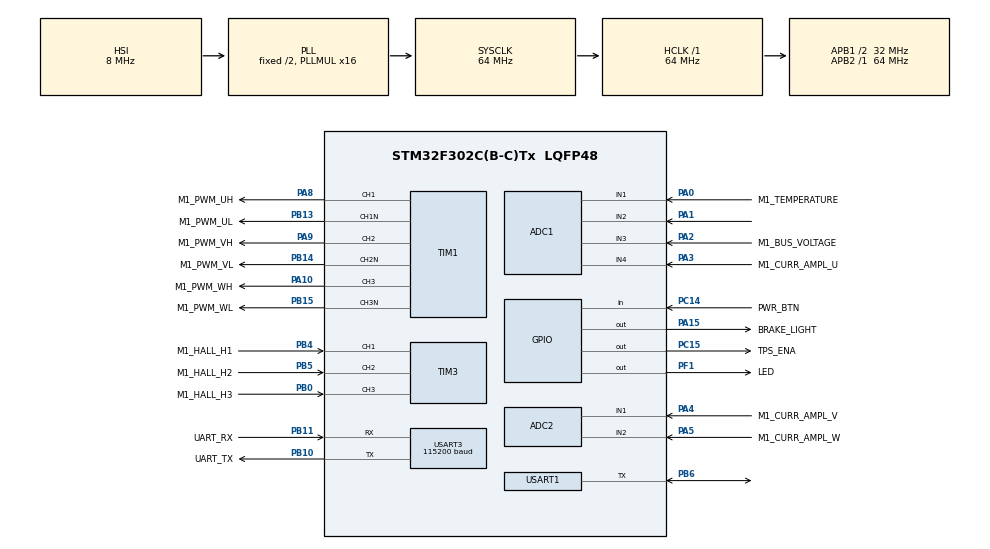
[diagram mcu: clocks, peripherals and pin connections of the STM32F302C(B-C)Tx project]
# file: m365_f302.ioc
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ADC1.Channel-4\#ChannelRegularConversion=ADC_CHANNEL_3
ADC1.Channel-5\#ChannelRegularConversion=ADC_CHANNEL_1
ADC1.ClockPrescaler=ADC_CLOCK_SYNC_PCLK_DIV1
ADC1.DataAlign=ADC_DATAALIGN_LEFT
ADC1.EnableRegularConversion=ENABLE
ADC1.ExternalTrigInjecConv=ADC_EXTERNALTRIGINJECCONV_T1_TRGO
ADC1.InjNumberOfConversion=2
ADC1.InjectedChannel-1\#ChannelInjectedConversion=ADC_CHANNEL_4
ADC1.InjectedChannel-2\#ChannelInjectedConversion=ADC_CHANNEL_2
ADC1.InjectedConvMode=None
ADC1.InjectedOffset-1\#ChannelInjectedConversion=0
ADC1.InjectedOffset-2\#ChannelInjectedConversion=0
ADC1.InjectedOffsetNumber-1\#ChannelInjectedConversion=ADC_OFFSET_NONE
ADC1.InjectedOffsetNumber-2\#ChannelInjectedConversion=ADC_OFFSET_NONE
ADC1.InjectedRank-1\#ChannelInjectedConversion=1
ADC1.InjectedRank-2\#ChannelInjectedConversion=2
ADC1.InjectedSamplingTime-1\#ChannelInjectedConversion=ADC_SAMPLETIME_1CYCLE_5
ADC1.InjectedSamplingTime-2\#ChannelInjectedConversion=ADC_SAMPLETIME_1CYCLE_5
ADC1.InjectedSamplingTimeOPAMP-1\#ChannelInjectedConversion=ADC_SAMPLETIME_61CYCLES_5
ADC1.InjectedSamplingTimeOPAMP-2\#ChannelInjectedConversion=ADC_SAMPLETIME_61CYCLES_5
ADC1.NbrOfConversion=2
ADC1.NbrOfConversionFlag=1
ADC1.Offset-4\#ChannelRegularConversion=0
ADC1.Offset-5\#ChannelRegularConversion=0
ADC1.OffsetNumber-4\#ChannelRegularConversion=ADC_OFFSET_NONE
ADC1.OffsetNumber-5\#ChannelRegularConversion=ADC_OFFSET_NONE
ADC1.QueueInjectedContext=ENABLE
ADC1.Rank-4\#ChannelRegularConversion=1
ADC1.Rank-5\#ChannelRegularConversion=3
ADC1.Rank2_Channel=ADC_CHANNEL_2
ADC1.SamplingTime-4\#ChannelRegularConversion=ADC_SAMPLETIME_1CYCLE_5
ADC1.SamplingTime-5\#ChannelRegularConversion=ADC_SAMPLETIME_1CYCLE_5
ADC1.SamplingTimeOPAMP-4\#ChannelRegularConversion=ADC_SAMPLETIME_61CYCLES_5
ADC1.SamplingTimeOPAMP-5\#ChannelRegularConversion=ADC_SAMPLETIME_61CYCLES_5
ADC1.SequencerNbRanks=1
ADC1.master=1
ADC2.Channel-0\#ChannelRegularConversion=ADC_CHANNEL_1
ADC2.ClockPrescaler=ADC_CLOCK_SYNC_PCLK_DIV1
ADC2.DataAlign=ADC_DATAALIGN_LEFT
ADC2.ExternalTrigInjecConv=ADC_EXTERNALTRIGINJECCONV_T1_TRGO
ADC2.InjNumberOfConversion=2
ADC2.InjectedChannel-1\#ChannelInjectedConversion=ADC_CHANNEL_1
ADC2.InjectedChannel-2\#ChannelInjectedConversion=ADC_CHANNEL_2
ADC2.InjectedConvMode=None
ADC2.InjectedOffset-1\#ChannelInjectedConversion=0
ADC2.InjectedOffset-2\#ChannelInjectedConversion=0
ADC2.InjectedOffsetNumber-1\#ChannelInjectedConversion=ADC_OFFSET_NONE
ADC2.InjectedOffsetNumber-2\#ChannelInjectedConversion=ADC_OFFSET_NONE
ADC2.InjectedRank-1\#ChannelInjectedConversion=1
ADC2.InjectedRank-2\#ChannelInjectedConversion=2
ADC2.InjectedSamplingTime-1\#ChannelInjectedConversion=ADC_SAMPLETIME_1CYCLE_5
ADC2.InjectedSamplingTime-2\#ChannelInjectedConversion=ADC_SAMPLETIME_1CYCLE_5
ADC2.InjectedSamplingTimeOPAMP-1\#ChannelInjectedConversion=ADC_SAMPLETIME_61CYCLES_5
ADC2.InjectedSamplingTimeOPAMP-2\#ChannelInjectedConversion=ADC_SAMPLETIME_61CYCLES_5
ADC2.NbrOfConversion=2
ADC2.NbrOfConversionFlag=1
ADC2.Offset-0\#ChannelRegularConversion=0
ADC2.OffsetNumber-0\#ChannelRegularConversion=ADC_OFFSET_NONE
ADC2.QueueInjectedContext=ENABLE
ADC2.Rank-0\#ChannelRegularConversion=1
ADC2.SamplingTime-0\#ChannelRegularConversion=ADC_SAMPLETIME_1CYCLE_5
Dma.ADC1.4.Direction=DMA_PERIPH_TO_MEMORY
Dma.ADC1.4.Instance=DMA1_Channel1
Dma.ADC1.4.MemDataAlignment=DMA_MDATAALIGN_HALFWORD
Dma.ADC1.4.MemInc=DMA_MINC_ENABLE
Dma.ADC1.4.Mode=DMA_CIRCULAR
Dma.ADC1.4.PeriphDataAlignment=DMA_PDATAALIGN_HALFWORD
Dma.ADC1.4.PeriphInc=DMA_PINC_DISABLE
Dma.ADC1.4.Priority=DMA_PRIORITY_LOW
Dma.Request0=USART1_TX
Dma.Request1=USART1_RX
Dma.Request2=USART3_RX
Dma.Request3=USART3_TX
Dma.Request4=ADC1
Dma.USART1_RX.1.Direction=DMA_PERIPH_TO_MEMORY
Dma.USART1_RX.1.Instance=DMA1_Channel5
Dma.USART1_RX.1.MemDataAlignment=DMA_MDATAALIGN_BYTE
Dma.USART1_RX.1.MemInc=DMA_MINC_ENABLE
Dma.USART1_RX.1.Mode=DMA_CIRCULAR
Dma.USART1_RX.1.PeriphDataAlignment=DMA_PDATAALIGN_BYTE
Dma.USART1_RX.1.PeriphInc=DMA_PINC_DISABLE
Dma.USART1_RX.1.Priority=DMA_PRIORITY_LOW
Dma.USART1_TX.0.Direction=DMA_MEMORY_TO_PERIPH
Dma.USART1_TX.0.Instance=DMA1_Channel4
Dma.USART1_TX.0.MemDataAlignment=DMA_MDATAALIGN_BYTE
Dma.USART1_TX.0.MemInc=DMA_MINC_ENABLE
Dma.USART1_TX.0.Mode=DMA_NORMAL
Dma.USART1_TX.0.PeriphDataAlignment=DMA_PDATAALIGN_BYTE
Dma.USART1_TX.0.PeriphInc=DMA_PINC_DISABLE
Dma.USART1_TX.0.Priority=DMA_PRIORITY_LOW
Dma.USART3_RX.2.Direction=DMA_PERIPH_TO_MEMORY
Dma.USART3_RX.2.Instance=DMA1_Channel3
Dma.USART3_RX.2.MemDataAlignment=DMA_MDATAALIGN_BYTE
Dma.USART3_RX.2.MemInc=DMA_MINC_ENABLE
Dma.USART3_RX.2.Mode=DMA_CIRCULAR
Dma.USART3_RX.2.PeriphDataAlignment=DMA_PDATAALIGN_BYTE
Dma.USART3_RX.2.PeriphInc=DMA_PINC_DISABLE
Dma.USART3_RX.2.Priority=DMA_PRIORITY_LOW
Dma.USART3_TX.3.Direction=DMA_MEMORY_TO_PERIPH
Dma.USART3_TX.3.Instance=DMA1_Channel2
Dma.USART3_TX.3.MemDataAlignment=DMA_MDATAALIGN_BYTE
Dma.USART3_TX.3.MemInc=DMA_MINC_ENABLE
Dma.USART3_TX.3.Mode=DMA_NORMAL
Dma.USART3_TX.3.PeriphDataAlignment=DMA_PDATAALIGN_BYTE
Dma.USART3_TX.3.PeriphInc=DMA_PINC_DISABLE
Dma.USART3_TX.3.Priority=DMA_PRIORITY_LOW
Mcu.Family=STM32F3
Mcu.Name=STM32F302C(B-C)Tx
Mcu.Package=LQFP48
NVIC.ADC1_2_IRQn=true\:2\:0\:true\:false\:false\:true\:true
NVIC.DMA1_Channel1_IRQn=true\:0\:0\:false\:false\:true\:false\:true
NVIC.DMA1_Channel2_IRQn=true\:5\:0\:true\:false\:true\:false\:true
NVIC.DMA1_Channel3_IRQn=true\:5\:0\:true\:false\:true\:false\:true
NVIC.DMA1_Channel4_IRQn=true\:5\:0\:true\:false\:true\:false\:true
NVIC.DMA1_Channel5_IRQn=true\:5\:0\:true\:false\:true\:false\:true
NVIC.PriorityGroup=NVIC_PRIORITYGROUP_4
NVIC.TIM1_BRK_TIM15_IRQn=true\:4\:0\:true\:true\:false\:1\:true\:true
NVIC.TIM1_UP_TIM16_IRQn=true\:0\:0\:false\:true\:false\:2\:true\:true
NVIC.TIM3_IRQn=true\:3\:0\:true\:true\:false\:3\:true\:true
NVIC.TIM4_IRQn=true\:15\:0\:false\:false\:true\:false\:true
NVIC.TimeBase=TIM4_IRQn
NVIC.TimeBaseIP=TIM4
PA0.GPIO_Label=M1_TEMPERATURE
PA0.Mode=IN1-Single-Ended
PA0.Signal=ADC1_IN1
PA1.Mode=IN2-Single-Ended
PA1.Signal=ADC1_IN2
PA10.GPIO_Label=M1_PWM_WH
PA10.Signal=S_TIM1_CH3
PA13.Mode=Serial_Wire
PA13.Signal=SYS_JTMS-SWDIO
PA14.Mode=Serial_Wire
PA14.Signal=SYS_JTCK-SWCLK
PA15.GPIO_Label=BRAKE_LIGHT
PA15.Signal=GPIO_Output
PA2.GPIO_Label=M1_BUS_VOLTAGE
PA2.Mode=IN3-Single-Ended
PA2.Signal=ADC1_IN3
PA3.GPIO_Label=M1_CURR_AMPL_U
PA3.Mode=IN4-Single-Ended
PA3.Signal=ADC1_IN4
PA4.GPIO_Label=M1_CURR_AMPL_V
PA4.Mode=IN1-Single-Ended
PA4.Signal=ADC2_IN1
PA5.GPIO_Label=M1_CURR_AMPL_W
PA5.Mode=IN2-Single-Ended
PA5.Signal=ADC2_IN2
PA8.GPIO_Label=M1_PWM_UH
PA8.Signal=S_TIM1_CH1
PA9.GPIO_Label=M1_PWM_VH
PA9.Signal=S_TIM1_CH2
PB0.GPIO_Label=M1_HALL_H3
PB0.Signal=S_TIM3_CH3
PB10.GPIO_Label=UART_TX
PB10.Mode=Asynchronous
PB10.Signal=USART3_TX
PB11.GPIO_Label=UART_RX
PB11.Mode=Asynchronous
PB11.Signal=USART3_RX
PB13.GPIO_Label=M1_PWM_UL
PB13.Mode=PWM Generation1 CH1 CH1N
PB13.Signal=TIM1_CH1N
PB14.GPIO_Label=M1_PWM_VL
PB14.Mode=PWM Generation2 CH2 CH2N
PB14.Signal=TIM1_CH2N
PB15.GPIO_Label=M1_PWM_WL
PB15.Mode=PWM Generation3 CH3 CH3N
PB15.Signal=TIM1_CH3N
PB4.GPIO_Label=M1_HALL_H1
PB4.Signal=S_TIM3_CH1
PB5.GPIO_Label=M1_HALL_H2
PB5.Signal=S_TIM3_CH2
PB6.Mode=Half_duplex(single_wire_mode)
PB6.Signal=USART1_TX
PC14-OSC32_IN.GPIO_Label=PWR_BTN
PC14-OSC32_IN.Signal=GPIO_Input
PC15-OSC32_OUT.GPIO_Label=TPS_ENA
PC15-OSC32_OUT.PinState=GPIO_PIN_SET
PC15-OSC32_OUT.Signal=GPIO_Output
PF1-OSC_OUT.GPIO_Label=LED
PF1-OSC_OUT.Signal=GPIO_Output
ProjectManager.HeapSize=0x200
ProjectManager.StackSize=0x400
ProjectManager.TargetToolchain=STM32CubeIDE
RCC.AHBFreq_Value=64000000
RCC.APB1CLKDivider=RCC_HCLK_DIV2
RCC.APB1Freq_Value=32000000
RCC.APB1TimFreq_Value=64000000
RCC.APB2Freq_Value=64000000
RCC.APB2TimFreq_Value=64000000
RCC.CortexFreq_Value=64000000
RCC.HCLKFreq_Value=64000000
RCC.HSE_VALUE=8000000
RCC.HSI_VALUE=8000000
RCC.LSE_VALUE=32768
RCC.PLLMUL=RCC_PLL_MUL16
RCC.SYSCLKFreq_VALUE=64000000
RCC.SYSCLKSourceVirtual=RCC_SYSCLKSOURCE_PLLCLK
RCC.USBFreq_Value=64000000
SH.S_TIM1_CH1.0=TIM1_CH1,PWM Generation1 CH1 CH1N
SH.S_TIM1_CH2.0=TIM1_CH2,PWM Generation2 CH2 CH2N
SH.S_TIM1_CH3.0=TIM1_CH3,PWM Generation3 CH3 CH3N
SH.S_TIM3_CH1.0=TIM3_CH1,Xored_Inputs_Hall_Sensor_Interface
SH.S_TIM3_CH2.0=TIM3_CH2,Xored_Inputs_Hall_Sensor_Interface
SH.S_TIM3_CH3.0=TIM3_CH3,Xored_Inputs_Hall_Sensor_Interface
TIM1.Break2Filter=7
TIM1.Break2Polarity=TIM_BREAK2POLARITY_LOW
TIM1.BreakPolarity=TIM_BREAKPOLARITY_LOW
TIM1.Channel-PWM\ Generation1\ CH1\ CH1N=TIM_CHANNEL_1
TIM1.Channel-PWM\ Generation2\ CH2\ CH2N=TIM_CHANNEL_2
TIM1.Channel-PWM\ Generation3\ CH3\ CH3N=TIM_CHANNEL_3
TIM1.Channel-PWM\ Generation4\ No\ Output=TIM_CHANNEL_4
TIM1.ClockDivision=TIM_CLOCKDIVISION_DIV2
TIM1.CounterMode=TIM_COUNTERMODE_CENTERALIGNED1
TIM1.DeadTime=((DEAD_TIME_COUNTS) / 2)
TIM1.LockLevel=TIM_LOCKLEVEL_1
TIM1.OCMode_PWM-PWM\ Generation4\ No\ Output=TIM_OCMODE_PWM2
TIM1.OffStateIDLEMode=TIM_OSSI_ENABLE
TIM1.OffStateRunMode=TIM_OSSR_ENABLE
TIM1.Period=((PWM_PERIOD_CYCLES) / 2)
TIM1.Prescaler=((TIM_CLOCK_DIVIDER) - 1)
TIM1.Pulse-PWM\ Generation4\ No\ Output=(((PWM_PERIOD_CYCLES) / 2) - (HTMIN))
TIM1.RepetitionCounter=(REP_COUNTER)
TIM1.TIM_MasterOutputTrigger=TIM_TRGO_OC4REF
TIM3.IC1Filter=M1_HALL_IC_FILTER
TIM3.Period=M1_HALL_TIM_PERIOD
USART1.BaudRate=115200
USART1.VirtualMode-Half_duplex(single_wire_mode)=VM_ASYNC
USART3.BaudRate=115200
USART3.VirtualMode-Asynchronous=VM_ASYNC
VP_SYS_VS_tim4.Mode=TIM4
VP_TIM1_VS_ClockSourceITR.Mode=TriggerSource_ITR1
VP_TIM1_VS_ControllerModeTrigger.Mode=Trigger Mode
VP_TIM1_VS_no_output4.Mode=PWM Generation4 No Output
VP_TIM3_VS_ClockSourceINT.Mode=Internal
board=custom

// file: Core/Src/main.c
/* USER CODE BEGIN Header */
/**
  ******************************************************************************
  * @file           : main.c
  * @brief          : Main program body
  ******************************************************************************
  * @attention
  *
  * <h2><center>&copy; Copyright (c) 2022 STMicroelectronics.
  * All rights reserved.</center></h2>
  *
  * This software component is licensed by ST under BSD 3-Clause license,
  * the "License"; You may not use this file except in compliance with the
  * License. You may obtain a copy of the License at:
  *                        opensource.org/licenses/BSD-3-Clause
  *
  ******************************************************************************
  */
/* USER CODE END Header */
#include "main.h"

/* USER CODE BEGIN Includes */
#include "FreeRTOS.h"
#include "task.h"
#include "task_init.h"
#include "motorcontrol.h"
#include "conf_general.h"
#include "app.h"
#include "product.h"
#include "mc_tasks.h"
/* USER CODE END Includes */

ADC_HandleTypeDef hadc1;
ADC_HandleTypeDef hadc2;
DMA_HandleTypeDef hdma_adc1;

TIM_HandleTypeDef htim1;
TIM_HandleTypeDef htim3;

UART_HandleTypeDef huart1;
UART_HandleTypeDef huart3;
DMA_HandleTypeDef hdma_usart1_tx;
DMA_HandleTypeDef hdma_usart1_rx;
DMA_HandleTypeDef hdma_usart3_rx;
DMA_HandleTypeDef hdma_usart3_tx;

void SystemClock_Config(void);
static void MX_GPIO_Init(void);
static void MX_ADC1_Init(void);
static void MX_DMA_Init(void);
static void MX_TIM1_Init(void);
static void MX_TIM3_Init(void);
static void MX_USART1_UART_Init(void);
static void MX_ADC2_Init(void);
static void MX_USART3_UART_Init(void);
static void MX_NVIC_Init(void);

int main(void)
{

  /* MCU Configuration--------------------------------------------------------*/

  /* Reset of all peripherals, Initializes the Flash interface and the Systick. */
  HAL_Init();

  /* Configure the system clock */
  SystemClock_Config();

  /* Initialize all configured peripherals */
  MX_GPIO_Init();
  MX_ADC1_Init();
  MX_DMA_Init();
  MX_TIM1_Init();
  MX_TIM3_Init();
  MX_USART1_UART_Init();
  MX_ADC2_Init();
  MX_USART3_UART_Init();

  /* Initialize interrupts */
  MX_NVIC_Init();
  /* USER CODE BEGIN 2 */

  HAL_ADCEx_Calibration_Start(&hadc1,ADC_SINGLE_ENDED);
  HAL_ADCEx_Calibration_Start(&hadc2,ADC_SINGLE_ENDED);

  MX_MotorControl_Init();
  HAL_Delay(100);

  conf_general_init();

  HAL_GPIO_WritePin(TPS_ENA_GPIO_Port, TPS_ENA_Pin, GPIO_PIN_SET);

  TaskHandle_t mediumFrequencyHandle;

  TaskHandle_t safetyHandle;

  xTaskCreate(startMediumFrequencyTask, "medTSK", 256, NULL, PRIO_NORMAL, &mediumFrequencyHandle);
  xTaskCreate(StartSafetyTask, "safety", 256, NULL, PRIO_HIGHER, &safetyHandle);

  task_init(); //bring up user tasks
  HAL_GPIO_WritePin(TPS_ENA_GPIO_Port, TPS_ENA_Pin, GPIO_PIN_SET);

  /* Start scheduler */
  vTaskStartScheduler();

  vTaskSwitchContext();

  /* USER CODE END 2 */

  /* Infinite loop */
  while (1)
  {

  }
}

void SystemClock_Config(void)
{
  RCC_OscInitTypeDef RCC_OscInitStruct = {0};
  RCC_ClkInitTypeDef RCC_ClkInitStruct = {0};
  RCC_PeriphCLKInitTypeDef PeriphClkInit = {0};

  /** Initializes the RCC Oscillators according to the specified parameters
  * in the RCC_OscInitTypeDef structure.
  */
  RCC_OscInitStruct.OscillatorType = RCC_OSCILLATORTYPE_HSI;
  RCC_OscInitStruct.HSIState = RCC_HSI_ON;
  RCC_OscInitStruct.HSICalibrationValue = RCC_HSICALIBRATION_DEFAULT;
  RCC_OscInitStruct.PLL.PLLState = RCC_PLL_ON;
  RCC_OscInitStruct.PLL.PLLSource = RCC_PLLSOURCE_HSI;
  RCC_OscInitStruct.PLL.PLLMUL = RCC_PLL_MUL16;
  if (HAL_RCC_OscConfig(&RCC_OscInitStruct) != HAL_OK)
  {
    Error_Handler();
  }
  /** Initializes the CPU, AHB and APB buses clocks
  */
  RCC_ClkInitStruct.ClockType = RCC_CLOCKTYPE_HCLK|RCC_CLOCKTYPE_SYSCLK
                              |RCC_CLOCKTYPE_PCLK1|RCC_CLOCKTYPE_PCLK2;
  RCC_ClkInitStruct.SYSCLKSource = RCC_SYSCLKSOURCE_PLLCLK;
  RCC_ClkInitStruct.AHBCLKDivider = RCC_SYSCLK_DIV1;
  RCC_ClkInitStruct.APB1CLKDivider = RCC_HCLK_DIV2;
  RCC_ClkInitStruct.APB2CLKDivider = RCC_HCLK_DIV1;

  if (HAL_RCC_ClockConfig(&RCC_ClkInitStruct, FLASH_LATENCY_2) != HAL_OK)
  {
    Error_Handler();
  }
  PeriphClkInit.PeriphClockSelection = RCC_PERIPHCLK_USART1|RCC_PERIPHCLK_USART3
                              |RCC_PERIPHCLK_TIM1;
  PeriphClkInit.Usart1ClockSelection = RCC_USART1CLKSOURCE_PCLK2;
  PeriphClkInit.Usart3ClockSelection = RCC_USART3CLKSOURCE_PCLK1;
  PeriphClkInit.Tim1ClockSelection = RCC_TIM1CLK_HCLK;
  if (HAL_RCCEx_PeriphCLKConfig(&PeriphClkInit) != HAL_OK)
  {
    Error_Handler();
  }
}

/**
  * @brief NVIC Configuration.
  * @retval None
  */
static void MX_NVIC_Init(void)
{
  /* TIM1_BRK_TIM15_IRQn interrupt configuration */
  HAL_NVIC_SetPriority(TIM1_BRK_TIM15_IRQn, 4, 0);
  HAL_NVIC_EnableIRQ(TIM1_BRK_TIM15_IRQn);
  /* TIM1_UP_TIM16_IRQn interrupt configuration */
  HAL_NVIC_SetPriority(TIM1_UP_TIM16_IRQn, 0, 0);
  HAL_NVIC_EnableIRQ(TIM1_UP_TIM16_IRQn);
  /* TIM3_IRQn interrupt configuration */
  HAL_NVIC_SetPriority(TIM3_IRQn, 3, 0);
  HAL_NVIC_EnableIRQ(TIM3_IRQn);
}

static void MX_ADC1_Init(void)
{

  ADC_MultiModeTypeDef multimode = {0};
  ADC_InjectionConfTypeDef sConfigInjected = {0};
  ADC_ChannelConfTypeDef sConfig = {0};

  /** Common config
  */
  hadc1.Instance = ADC1;
  hadc1.Init.ClockPrescaler = ADC_CLOCK_SYNC_PCLK_DIV1;
  hadc1.Init.Resolution = ADC_RESOLUTION_12B;
  hadc1.Init.ScanConvMode = ADC_SCAN_ENABLE;
  hadc1.Init.ContinuousConvMode = DISABLE;
  hadc1.Init.DiscontinuousConvMode = DISABLE;
  hadc1.Init.ExternalTrigConvEdge = ADC_EXTERNALTRIGCONVEDGE_NONE;
  hadc1.Init.ExternalTrigConv = ADC_SOFTWARE_START;
  hadc1.Init.DataAlign = ADC_DATAALIGN_LEFT;
  hadc1.Init.NbrOfConversion = 2;
  hadc1.Init.DMAContinuousRequests = DISABLE;
  hadc1.Init.EOCSelection = ADC_EOC_SINGLE_CONV;
  hadc1.Init.LowPowerAutoWait = DISABLE;
  hadc1.Init.Overrun = ADC_OVR_DATA_OVERWRITTEN;
  if (HAL_ADC_Init(&hadc1) != HAL_OK)
  {
    Error_Handler();
  }
  /** Configure the ADC multi-mode
  */
  multimode.Mode = ADC_MODE_INDEPENDENT;
  if (HAL_ADCEx_MultiModeConfigChannel(&hadc1, &multimode) != HAL_OK)
  {
    Error_Handler();
  }
  /** Configure Injected Channel
  */
  sConfigInjected.InjectedChannel = ADC_CHANNEL_4;
  sConfigInjected.InjectedRank = ADC_INJECTED_RANK_1;
  sConfigInjected.InjectedSingleDiff = ADC_SINGLE_ENDED;
  sConfigInjected.InjectedNbrOfConversion = 2;
  sConfigInjected.InjectedSamplingTime = ADC_SAMPLETIME_1CYCLE_5;
  sConfigInjected.ExternalTrigInjecConvEdge = ADC_EXTERNALTRIGINJECCONV_EDGE_RISING;
  sConfigInjected.ExternalTrigInjecConv = ADC_EXTERNALTRIGINJECCONV_T1_TRGO;
  sConfigInjected.AutoInjectedConv = DISABLE;
  sConfigInjected.InjectedDiscontinuousConvMode = DISABLE;
  sConfigInjected.QueueInjectedContext = ENABLE;
  sConfigInjected.InjectedOffset = 0;
  sConfigInjected.InjectedOffsetNumber = ADC_OFFSET_NONE;
  if (HAL_ADCEx_InjectedConfigChannel(&hadc1, &sConfigInjected) != HAL_OK)
  {
    Error_Handler();
  }
  /** Configure Injected Channel
  */
  sConfigInjected.InjectedChannel = ADC_CHANNEL_2;
  sConfigInjected.InjectedRank = ADC_INJECTED_RANK_2;
  if (HAL_ADCEx_InjectedConfigChannel(&hadc1, &sConfigInjected) != HAL_OK)
  {
    Error_Handler();
  }
  /** Configure Regular Channel
  */
  sConfig.Channel = ADC_CHANNEL_3;
  sConfig.Rank = ADC_REGULAR_RANK_1;
  sConfig.SingleDiff = ADC_SINGLE_ENDED;
  sConfig.SamplingTime = ADC_SAMPLETIME_1CYCLE_5;
  sConfig.OffsetNumber = ADC_OFFSET_NONE;
  sConfig.Offset = 0;
  if (HAL_ADC_ConfigChannel(&hadc1, &sConfig) != HAL_OK)
  {
    Error_Handler();
  }
  /** Configure Regular Channel
  */
  sConfig.Channel = ADC_CHANNEL_1;
  sConfig.Rank = ADC_REGULAR_RANK_3;
  if (HAL_ADC_ConfigChannel(&hadc1, &sConfig) != HAL_OK)
  {
    Error_Handler();
  }

}

static void MX_ADC2_Init(void)
{

  ADC_ChannelConfTypeDef sConfig = {0};
  ADC_InjectionConfTypeDef sConfigInjected = {0};

  /** Common config
  */
  hadc2.Instance = ADC2;
  hadc2.Init.ClockPrescaler = ADC_CLOCK_SYNC_PCLK_DIV1;
  hadc2.Init.Resolution = ADC_RESOLUTION_12B;
  hadc2.Init.ScanConvMode = ADC_SCAN_ENABLE;
  hadc2.Init.ContinuousConvMode = DISABLE;
  hadc2.Init.DiscontinuousConvMode = DISABLE;
  hadc2.Init.ExternalTrigConvEdge = ADC_EXTERNALTRIGCONVEDGE_NONE;
  hadc2.Init.ExternalTrigConv = ADC_SOFTWARE_START;
  hadc2.Init.DataAlign = ADC_DATAALIGN_LEFT;
  hadc2.Init.NbrOfConversion = 2;
  hadc2.Init.DMAContinuousRequests = DISABLE;
  hadc2.Init.EOCSelection = ADC_EOC_SINGLE_CONV;
  hadc2.Init.LowPowerAutoWait = DISABLE;
  hadc2.Init.Overrun = ADC_OVR_DATA_OVERWRITTEN;
  if (HAL_ADC_Init(&hadc2) != HAL_OK)
  {
    Error_Handler();
  }
  /** Configure Regular Channel
  */
  sConfig.Channel = ADC_CHANNEL_1;
  sConfig.Rank = ADC_REGULAR_RANK_1;
  sConfig.SingleDiff = ADC_SINGLE_ENDED;
  sConfig.SamplingTime = ADC_SAMPLETIME_1CYCLE_5;
  sConfig.OffsetNumber = ADC_OFFSET_NONE;
  sConfig.Offset = 0;
  if (HAL_ADC_ConfigChannel(&hadc2, &sConfig) != HAL_OK)
  {
    Error_Handler();
  }
  /** Configure Injected Channel
  */
  sConfigInjected.InjectedChannel = ADC_CHANNEL_1;
  sConfigInjected.InjectedRank = ADC_INJECTED_RANK_1;
  sConfigInjected.InjectedSingleDiff = ADC_SINGLE_ENDED;
  sConfigInjected.InjectedNbrOfConversion = 2;
  sConfigInjected.InjectedSamplingTime = ADC_SAMPLETIME_1CYCLE_5;
  sConfigInjected.ExternalTrigInjecConvEdge = ADC_EXTERNALTRIGINJECCONV_EDGE_RISING;
  sConfigInjected.ExternalTrigInjecConv = ADC_EXTERNALTRIGINJECCONV_T1_TRGO;
  sConfigInjected.AutoInjectedConv = DISABLE;
  sConfigInjected.InjectedDiscontinuousConvMode = DISABLE;
  sConfigInjected.QueueInjectedContext = ENABLE;
  sConfigInjected.InjectedOffset = 0;
  sConfigInjected.InjectedOffsetNumber = ADC_OFFSET_NONE;
  if (HAL_ADCEx_InjectedConfigChannel(&hadc2, &sConfigInjected) != HAL_OK)
  {
    Error_Handler();
  }
  /** Configure Injected Channel
  */
  sConfigInjected.InjectedChannel = ADC_CHANNEL_2;
  sConfigInjected.InjectedRank = ADC_INJECTED_RANK_2;
  if (HAL_ADCEx_InjectedConfigChannel(&hadc2, &sConfigInjected) != HAL_OK)
  {
    Error_Handler();
  }

}

static void MX_TIM1_Init(void)
{

  TIM_SlaveConfigTypeDef sSlaveConfig = {0};
  TIM_MasterConfigTypeDef sMasterConfig = {0};
  TIM_OC_InitTypeDef sConfigOC = {0};
  TIM_BreakDeadTimeConfigTypeDef sBreakDeadTimeConfig = {0};

  htim1.Instance = TIM1;
  htim1.Init.Prescaler = ((TIM_CLOCK_DIVIDER) - 1);
  htim1.Init.CounterMode = TIM_COUNTERMODE_CENTERALIGNED1;
  htim1.Init.Period = ((PWM_PERIOD_CYCLES) / 2);
  htim1.Init.ClockDivision = TIM_CLOCKDIVISION_DIV2;
  htim1.Init.RepetitionCounter = (REP_COUNTER);
  htim1.Init.AutoReloadPreload = TIM_AUTORELOAD_PRELOAD_DISABLE;
  if (HAL_TIM_Base_Init(&htim1) != HAL_OK)
  {
    Error_Handler();
  }
  if (HAL_TIM_PWM_Init(&htim1) != HAL_OK)
  {
    Error_Handler();
  }
  sSlaveConfig.SlaveMode = TIM_SLAVEMODE_TRIGGER;
  sSlaveConfig.InputTrigger = TIM_TS_ITR1;
  if (HAL_TIM_SlaveConfigSynchro(&htim1, &sSlaveConfig) != HAL_OK)
  {
    Error_Handler();
  }
  sMasterConfig.MasterOutputTrigger = TIM_TRGO_OC4REF;
  sMasterConfig.MasterOutputTrigger2 = TIM_TRGO2_RESET;
  sMasterConfig.MasterSlaveMode = TIM_MASTERSLAVEMODE_DISABLE;
  if (HAL_TIMEx_MasterConfigSynchronization(&htim1, &sMasterConfig) != HAL_OK)
  {
    Error_Handler();
  }
  sConfigOC.OCMode = TIM_OCMODE_PWM1;
  sConfigOC.Pulse = 0;
  sConfigOC.OCPolarity = TIM_OCPOLARITY_HIGH;
  sConfigOC.OCNPolarity = TIM_OCNPOLARITY_HIGH;
  sConfigOC.OCFastMode = TIM_OCFAST_DISABLE;
  sConfigOC.OCIdleState = TIM_OCIDLESTATE_RESET;
  sConfigOC.OCNIdleState = TIM_OCNIDLESTATE_RESET;
  if (HAL_TIM_PWM_ConfigChannel(&htim1, &sConfigOC, TIM_CHANNEL_1) != HAL_OK)
  {
    Error_Handler();
  }
  if (HAL_TIM_PWM_ConfigChannel(&htim1, &sConfigOC, TIM_CHANNEL_2) != HAL_OK)
  {
    Error_Handler();
  }
  if (HAL_TIM_PWM_ConfigChannel(&htim1, &sConfigOC, TIM_CHANNEL_3) != HAL_OK)
  {
    Error_Handler();
  }
  sConfigOC.OCMode = TIM_OCMODE_PWM2;
  sConfigOC.Pulse = (((PWM_PERIOD_CYCLES) / 2) - (HTMIN));
  if (HAL_TIM_PWM_ConfigChannel(&htim1, &sConfigOC, TIM_CHANNEL_4) != HAL_OK)
  {
    Error_Handler();
  }
  sBreakDeadTimeConfig.OffStateRunMode = TIM_OSSR_ENABLE;
  sBreakDeadTimeConfig.OffStateIDLEMode = TIM_OSSI_ENABLE;
  sBreakDeadTimeConfig.LockLevel = TIM_LOCKLEVEL_1;
  sBreakDeadTimeConfig.DeadTime = ((DEAD_TIME_COUNTS) / 2);
  sBreakDeadTimeConfig.BreakState = TIM_BREAK_DISABLE;
  sBreakDeadTimeConfig.BreakPolarity = TIM_BREAKPOLARITY_LOW;
  sBreakDeadTimeConfig.BreakFilter = 0;
  sBreakDeadTimeConfig.Break2State = TIM_BREAK2_DISABLE;
  sBreakDeadTimeConfig.Break2Polarity = TIM_BREAK2POLARITY_LOW;
  sBreakDeadTimeConfig.Break2Filter = 7;
  sBreakDeadTimeConfig.AutomaticOutput = TIM_AUTOMATICOUTPUT_DISABLE;
  if (HAL_TIMEx_ConfigBreakDeadTime(&htim1, &sBreakDeadTimeConfig) != HAL_OK)
  {
    Error_Handler();
  }
  HAL_TIM_MspPostInit(&htim1);

}

static void MX_TIM3_Init(void)
{

  TIM_ClockConfigTypeDef sClockSourceConfig = {0};
  TIM_HallSensor_InitTypeDef sConfig = {0};
  TIM_MasterConfigTypeDef sMasterConfig = {0};

  htim3.Instance = TIM3;
  htim3.Init.Prescaler = 0;
  htim3.Init.CounterMode = TIM_COUNTERMODE_UP;
  htim3.Init.Period = M1_HALL_TIM_PERIOD;
  htim3.Init.ClockDivision = TIM_CLOCKDIVISION_DIV1;
  htim3.Init.AutoReloadPreload = TIM_AUTORELOAD_PRELOAD_DISABLE;
  if (HAL_TIM_Base_Init(&htim3) != HAL_OK)
  {
    Error_Handler();
  }
  sClockSourceConfig.ClockSource = TIM_CLOCKSOURCE_INTERNAL;
  if (HAL_TIM_ConfigClockSource(&htim3, &sClockSourceConfig) != HAL_OK)
  {
    Error_Handler();
  }
  sConfig.IC1Polarity = TIM_ICPOLARITY_RISING;
  sConfig.IC1Prescaler = TIM_ICPSC_DIV1;
  sConfig.IC1Filter = M1_HALL_IC_FILTER;
  sConfig.Commutation_Delay = 0;
  if (HAL_TIMEx_HallSensor_Init(&htim3, &sConfig) != HAL_OK)
  {
    Error_Handler();
  }
  sMasterConfig.MasterOutputTrigger = TIM_TRGO_OC2REF;
  sMasterConfig.MasterSlaveMode = TIM_MASTERSLAVEMODE_DISABLE;
  if (HAL_TIMEx_MasterConfigSynchronization(&htim3, &sMasterConfig) != HAL_OK)
  {
    Error_Handler();
  }

}

static void MX_USART1_UART_Init(void)
{

  huart1.Instance = USART1;
  huart1.Init.BaudRate = 115200;
  huart1.Init.WordLength = UART_WORDLENGTH_8B;
  huart1.Init.StopBits = UART_STOPBITS_1;
  huart1.Init.Parity = UART_PARITY_NONE;
  huart1.Init.Mode = UART_MODE_TX_RX;
  huart1.Init.HwFlowCtl = UART_HWCONTROL_NONE;
  huart1.Init.OverSampling = UART_OVERSAMPLING_16;
  huart1.Init.OneBitSampling = UART_ONE_BIT_SAMPLE_DISABLE;
  huart1.AdvancedInit.AdvFeatureInit = UART_ADVFEATURE_NO_INIT;
  if (HAL_HalfDuplex_Init(&huart1) != HAL_OK)
  {
    Error_Handler();
  }

}

static void MX_USART3_UART_Init(void)
{

  huart3.Instance = USART3;
  huart3.Init.BaudRate = 115200;
  huart3.Init.WordLength = UART_WORDLENGTH_8B;
  huart3.Init.StopBits = UART_STOPBITS_1;
  huart3.Init.Parity = UART_PARITY_NONE;
  huart3.Init.Mode = UART_MODE_TX_RX;
  huart3.Init.HwFlowCtl = UART_HWCONTROL_NONE;
  huart3.Init.OverSampling = UART_OVERSAMPLING_16;
  huart3.Init.OneBitSampling = UART_ONE_BIT_SAMPLE_DISABLE;
  huart3.AdvancedInit.AdvFeatureInit = UART_ADVFEATURE_NO_INIT;
  if (HAL_UART_Init(&huart3) != HAL_OK)
  {
    Error_Handler();
  }

}

static void MX_DMA_Init(void)
{

  /* DMA controller clock enable */
  __HAL_RCC_DMA1_CLK_ENABLE();

  /* DMA interrupt init */
  /* DMA1_Channel1_IRQn interrupt configuration */
  HAL_NVIC_SetPriority(DMA1_Channel1_IRQn, 0, 0);
  HAL_NVIC_EnableIRQ(DMA1_Channel1_IRQn);
  /* DMA1_Channel2_IRQn interrupt configuration */
  HAL_NVIC_SetPriority(DMA1_Channel2_IRQn, 5, 0);
  HAL_NVIC_EnableIRQ(DMA1_Channel2_IRQn);
  /* DMA1_Channel3_IRQn interrupt configuration */
  HAL_NVIC_SetPriority(DMA1_Channel3_IRQn, 5, 0);
  HAL_NVIC_EnableIRQ(DMA1_Channel3_IRQn);
  /* DMA1_Channel4_IRQn interrupt configuration */
  HAL_NVIC_SetPriority(DMA1_Channel4_IRQn, 5, 0);
  HAL_NVIC_EnableIRQ(DMA1_Channel4_IRQn);
  /* DMA1_Channel5_IRQn interrupt configuration */
  HAL_NVIC_SetPriority(DMA1_Channel5_IRQn, 5, 0);
  HAL_NVIC_EnableIRQ(DMA1_Channel5_IRQn);

}

static void MX_GPIO_Init(void)
{
  GPIO_InitTypeDef GPIO_InitStruct = {0};

  /* GPIO Ports Clock Enable */
  __HAL_RCC_GPIOC_CLK_ENABLE();
  __HAL_RCC_GPIOF_CLK_ENABLE();
  __HAL_RCC_GPIOA_CLK_ENABLE();
  __HAL_RCC_GPIOB_CLK_ENABLE();

  /*Configure GPIO pin Output Level */
  HAL_GPIO_WritePin(TPS_ENA_GPIO_Port, TPS_ENA_Pin, GPIO_PIN_SET);

  /*Configure GPIO pin Output Level */
  HAL_GPIO_WritePin(LED_GPIO_Port, LED_Pin, GPIO_PIN_RESET);

  /*Configure GPIO pin Output Level */
  HAL_GPIO_WritePin(BRAKE_LIGHT_GPIO_Port, BRAKE_LIGHT_Pin, GPIO_PIN_RESET);

  /*Configure GPIO pin : PWR_BTN_Pin */
  GPIO_InitStruct.Pin = PWR_BTN_Pin;
  GPIO_InitStruct.Mode = GPIO_MODE_INPUT;
  GPIO_InitStruct.Pull = GPIO_NOPULL;
  HAL_GPIO_Init(PWR_BTN_GPIO_Port, &GPIO_InitStruct);

  /*Configure GPIO pin : TPS_ENA_Pin */
  GPIO_InitStruct.Pin = TPS_ENA_Pin;
  GPIO_InitStruct.Mode = GPIO_MODE_OUTPUT_PP;
  GPIO_InitStruct.Pull = GPIO_NOPULL;
  GPIO_InitStruct.Speed = GPIO_SPEED_FREQ_LOW;
  HAL_GPIO_Init(TPS_ENA_GPIO_Port, &GPIO_InitStruct);

  /*Configure GPIO pin : LED_Pin */
  GPIO_InitStruct.Pin = LED_Pin;
  GPIO_InitStruct.Mode = GPIO_MODE_OUTPUT_PP;
  GPIO_InitStruct.Pull = GPIO_NOPULL;
  GPIO_InitStruct.Speed = GPIO_SPEED_FREQ_LOW;
  HAL_GPIO_Init(LED_GPIO_Port, &GPIO_InitStruct);

  /*Configure GPIO pin : BRAKE_LIGHT_Pin */
  GPIO_InitStruct.Pin = BRAKE_LIGHT_Pin;
  GPIO_InitStruct.Mode = GPIO_MODE_OUTPUT_PP;
  GPIO_InitStruct.Pull = GPIO_NOPULL;
  GPIO_InitStruct.Speed = GPIO_SPEED_FREQ_LOW;
  HAL_GPIO_Init(BRAKE_LIGHT_GPIO_Port, &GPIO_InitStruct);

}

void HAL_TIM_PeriodElapsedCallback(TIM_HandleTypeDef *htim)
{
  if (htim->Instance == TIM4) {
    HAL_IncTick();
  }
}

void Error_Handler(void)
{
  __disable_irq();
  while (1)
  {
  }
}

/************************ (C) COPYRIGHT STMicroelectronics *****END OF FILE****/
